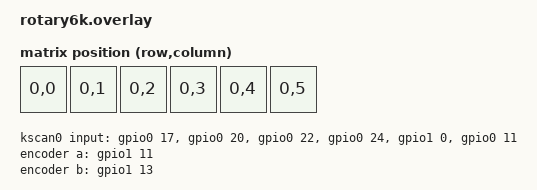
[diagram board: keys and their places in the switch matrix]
#include <dt-bindings/zmk/matrix_transform.h>
#include <physical_layouts.dtsi>

/ {
    chosen {
        zmk,kscan = &kscan0;
        zmk,physical-layout = &physical_layout0;
    };

    // 1. Direct GPIO Pin Input Scan Configuration (Mapped to raw nRF52840 pins)
    kscan0: kscan {
        compatible = "zmk,kscan-gpio-direct";
        wakeup-source;
        input-gpios
            = <&gpio0 17 (GPIO_ACTIVE_LOW | GPIO_PULL_UP)> // Key 1: P0.17
            , <&gpio0 20 (GPIO_ACTIVE_LOW | GPIO_PULL_UP)> // Key 2: P0.20
            , <&gpio0 22 (GPIO_ACTIVE_LOW | GPIO_PULL_UP)> // Key 3: P0.22
            , <&gpio0 24 (GPIO_ACTIVE_LOW | GPIO_PULL_UP)> // Key 4: P0.24
            , <&gpio1  0 (GPIO_ACTIVE_LOW | GPIO_PULL_UP)> // Key 5: P1.00
            , <&gpio0 11 (GPIO_ACTIVE_LOW | GPIO_PULL_UP)> // Key 6: P0.11
            ;
    };

    // 2. Hardware Encoder Configuration
    encoder: encoder {
        compatible = "alps,ec11";
        a-gpios = <&gpio1 11 (GPIO_ACTIVE_LOW | GPIO_PULL_UP)>; // P1.11
        b-gpios = <&gpio1 13 (GPIO_ACTIVE_LOW | GPIO_PULL_UP)>; // P1.13
        steps = <80>; 
        status = "okay";
    };

    sensors: sensors {
        compatible = "zmk,keymap-sensors";
        sensors = <&encoder>;
        triggers-per-rotation = <20>; 
    };

    // 3. Physical Layout required by ZMK Studio
    physical_layout0: physical_layout_0 {
        compatible = "zmk,physical-layout";
        display-name = "Default Layout";
        transform = <&default_transform>;
        kscan = <&kscan0>;
        
        keys 
            = <&key_physical_attrs 100 100    0   0 0 0 0> 
            , <&key_physical_attrs 100 100  100   0 0 0 0> 
            , <&key_physical_attrs 100 100  200   0 0 0 0> 
            , <&key_physical_attrs 100 100  300   0 0 0 0> 
            , <&key_physical_attrs 100 100  400   0 0 0 0> 
            , <&key_physical_attrs 100 100  500   0 0 0 0> 
            ;
    };

    default_transform: matrix_transform {
        compatible = "zmk,matrix-transform";
        rows = <1>;
        columns = <6>;
        map = <
            RC(0,0) RC(0,1) RC(0,2) RC(0,3) RC(0,4) RC(0,5)
        >;
    };
};
